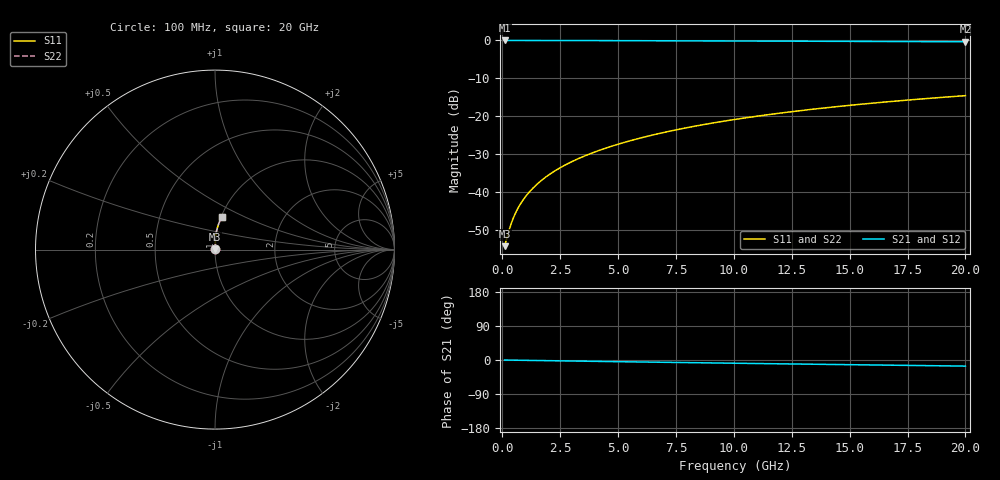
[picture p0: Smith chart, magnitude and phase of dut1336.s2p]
! Touchstone file exported from HFSS 2024.1.0
!  File:  C:/UserFiles/LocalFiles/RDL_TSV_Batchsim/temp_RDL_bottom_1336_1780369601.aedt
!  Generated:  11:09:26 AM Jun  2, 2026
!  Design:  RDL_bottom
!  Project:  temp_RDL_bottom_1336_1780369601
!  Setup:  Setup1
!  Solution:  Sweep
! Variables:
!  dtsv = 10.80580581um
!  hbump = 3um
!  htsv = 92.52um
!  ldown = 177.77um
!  lrdl = 100um
!  p = 40
!  p1 = 52.09um
!  rhole = 1um
!  t = 450um
!  tdown = 2.13um
!  trdl = 3.915915916um
!  wdown = 22.79um
!  wrdl = 20um
# GHz S MA R 50.000000
! Terminal data exported
! Port[1] = RDL1_T1
! Port[2] = RDL1_T2
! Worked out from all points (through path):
!   200 points, 100 MHz to 20 GHz, reference 50 ohm
!   highest |S21| = -0.01 dB at 100 MHz (marker M1); lowest = -0.4 dB at 20 GHz (marker M2)
!   group delay of S21, straight-line fit = 2.22 ps
!   lowest |S11| = -54.3 dB at 100 MHz (marker M3), VSWR 1.00, Z = 50.2 + j0.0897 ohm
!   |S11| at or under -10 dB: start of sweep to end of sweep
!   |S22| runs from -54.3 to -14.6 dB; largest |S21 - S12| = 3.5e-15
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0.1  0.001928 27.6  0.9983 -0.1  0.9983 -0.1  0.001928 27.6
! Gamma 0 0 0 0
! Port Impedance 50 0 50 0
0.3  0.00319 56.1  0.9982 -0.3  0.9982 -0.3  0.00319 56.1
0.4  0.003948 62.4  0.9981 -0.4  0.9981 -0.4  0.003948 62.4
0.5  0.004724 66.7  0.998 -0.5  0.998 -0.5  0.004724 66.7
0.6  0.005507 69.7  0.998 -0.6  0.998 -0.6  0.005507 69.7
0.7  0.006293 72.0  0.9979 -0.7  0.9979 -0.7  0.006293 72.0
0.9  0.00787 75.4  0.9978 -0.8  0.9978 -0.8  0.00787 75.4
1.2  0.01025 78.7  0.9975 -1.1  0.9975 -1.1  0.01025 78.7
1.4  0.01186 80.2  0.9974 -1.3  0.9974 -1.3  0.01186 80.2
1.7  0.01429 82.0  0.9971 -1.6  0.9971 -1.6  0.01429 82.0
2.2  0.0184 84.0  0.9966 -2.0  0.9966 -2.0  0.0184 84.0
2.8  0.02342 85.5  0.9959 -2.5  0.9959 -2.5  0.02342 85.5
3.5  0.02941 86.6  0.995 -3.1  0.995 -3.1  0.02941 86.6
4.2  0.03553 87.3  0.9939 -3.8  0.9939 -3.8  0.03553 87.3
5  0.04269 87.8  0.9924 -4.4  0.9924 -4.4  0.04269 87.8
5.9  0.05093 87.9  0.9907 -5.2  0.9907 -5.2  0.05094 87.9
6.8  0.05935 87.9  0.9889 -6.0  0.9889 -6.0  0.05936 87.9
8.4  0.07465 87.3  0.9855 -7.3  0.9855 -7.3  0.07465 87.3
10.1  0.09119 86.3  0.9819 -8.6  0.9819 -8.6  0.0912 86.3
13.4  0.1235 83.7  0.9746 -11.2  0.9746 -11.2  0.1235 83.7
16.7  0.1555 80.9  0.9672 -13.7  0.9672 -13.7  0.1555 80.9
20  0.1867 78.1  0.9594 -16.1  0.9594 -16.1  0.1867 78.1
